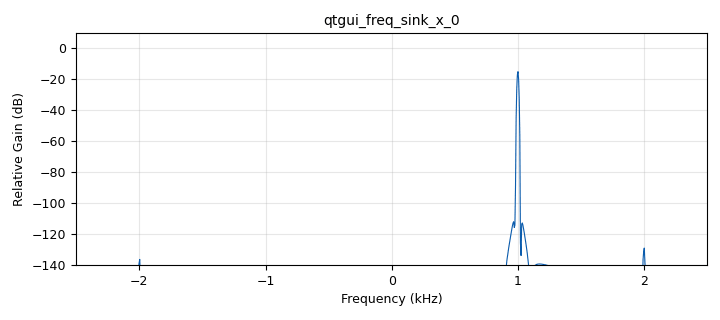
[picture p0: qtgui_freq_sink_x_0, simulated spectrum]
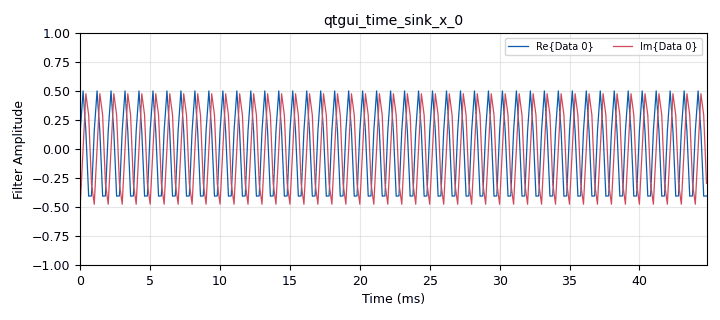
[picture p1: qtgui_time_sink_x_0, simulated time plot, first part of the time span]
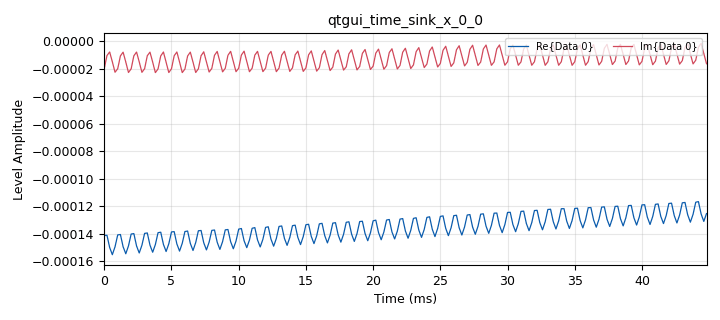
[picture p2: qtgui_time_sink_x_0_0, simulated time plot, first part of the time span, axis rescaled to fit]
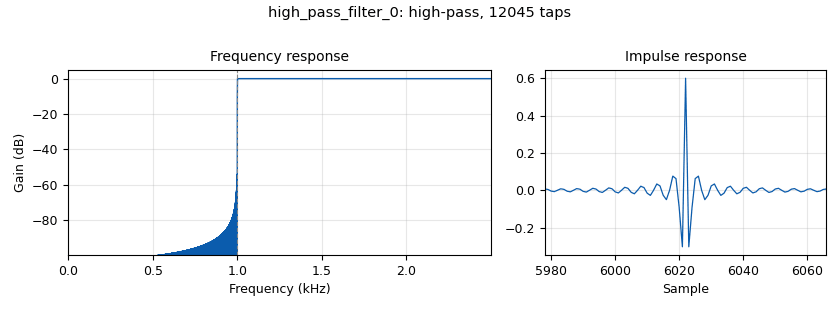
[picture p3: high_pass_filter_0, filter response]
options:
  parameters:
    generate_options: qt_gui
    id: fm_radio
    output_language: python
    title: FM Radio
  states: {}

blocks:
- name: freq
  id: variable_qtgui_range
  parameters:
    label: Frequency (Hz)
    start: '1'
    step: '1'
    stop: '10000'
    value: '1000'
  states: {}
- name: samp_rate
  id: variable_qtgui_range
  parameters:
    label: Sample Rate
    start: '0'
    step: '10'
    stop: '50000'
    value: '5000'
  states: {}
- name: analog_sig_source_x_0
  id: analog_sig_source_x
  parameters:
    amp: '1'
    freq: freq
    offset: '0'
    phase: '0'
    samp_rate: samp_rate
    type: complex
    waveform: analog.GR_COS_WAVE
  states: {}
- name: blocks_moving_average_xx_0
  id: blocks_moving_average_xx
  parameters:
    length: '1000'
    max_iter: '4000'
    scale: '1'
    type: complex
  states: {}
- name: epy_block_0
  id: epy_block
  parameters:
    _source_code: |
      import numpy as np
      from gnuradio import gr
      import pmt

      class frequency_tuner(gr.sync_block):
          def __init__(self, min_freq=88e6, max_freq=108e6, step=5e4, interval=1e5):
              gr.sync_block.__init__(
                  self,
                  name='Frequency Tuner',
                  in_sig=[np.float32],
                  out_sig=None
              )

              self.message_port_register_out(pmt.intern('source_cmd'))
              
              self.min_freq = min_freq
              self.max_freq = max_freq
              self.step = step
              self.interval = interval

              self.searching = True

              self.probed_freq = self.min_freq
              self.probed_freq_best_signal_level = 0

              self.best_freq = self.min_freq
              self.best_freq_signal_level = 0

              self.probe = 0
              self.max_probes = 10

          def work(self, input_items, output_items):
              if not self.searching:
                  return

              if self.probed_freq > self.max_freq:
                  self.searching = False
                  return

              if self.probe == 0:
                  self.send_command(self.probed_freq)
              elif self.probe < self.max_probes:
                  current_signal_level = input_items[0]
                  if current_signal_level > self.probed_freq_best_signal_level:
                      self.probed_freq_best_signal_level = current_signal_level
              else:
                  if self.probed_freq_best_signal_level > self.best_freq_signal_level:
                      self.best_freq_signal_level = self.probed_freq_best_signal_level
                      self.best_freq = self.probed_freq
                  else:
                      if self.probed_freq > self.best_freq + self.interval:
                          self.searching = False
                          self.send_command(self.best_freq)
                          return

                  self.probed_freq = self.probed_freq + self.step

              self.probe = self.probe + 1

          # https://wiki.gnuradio.org/index.php/Signal_Source
          # https://wiki.gnuradio.org/index.php/Python_Block_Message_Passing
          def send_command(self, freq):
              message = pmt.dict_add(pmt.make_dict(), pmt.intern("freq"), pmt.from_double(freq))
              self.message_port_pub(pmt.intern('source_cmd'), message)
    interval: '100000.0'
    max_freq: '108000000.0'
    min_freq: '88000000.0'
    step: '50000.0'
  states: {state: disabled}
- name: high_pass_filter_0
  id: high_pass_filter
  parameters:
    cutoff_freq: '1000'
    decim: '1'
    gain: '1'
    samp_rate: samp_rate
    type: fir_filter_ccf
    width: '1'
    win: window.WIN_HAMMING
  states: {}
- name: qtgui_freq_sink_x_0
  id: qtgui_freq_sink_x
  parameters:
    bw: samp_rate
    fc: '0'
    fftsize: '1024'
    type: complex
  states: {}
- name: qtgui_time_sink_x_0
  id: qtgui_time_sink_x
  parameters:
    size: '1024'
    srate: samp_rate
    type: complex
    ylabel: Filter Amplitude
  states: {}
- name: qtgui_time_sink_x_0_0
  id: qtgui_time_sink_x
  parameters:
    size: '1024'
    srate: samp_rate
    type: complex
    ylabel: Level Amplitude
  states: {}

connections:
- [analog_sig_source_x_0, '0', high_pass_filter_0, '0']
- [blocks_moving_average_xx_0, '0', qtgui_time_sink_x_0_0, '0']
- [epy_block_0, source_cmd, analog_sig_source_x_0, cmd]
- [high_pass_filter_0, '0', blocks_moving_average_xx_0, '0']
- [high_pass_filter_0, '0', qtgui_freq_sink_x_0, '0']
- [high_pass_filter_0, '0', qtgui_time_sink_x_0, '0']

metadata:
  file_format: 1
  grc_version: 3.10.5.1
